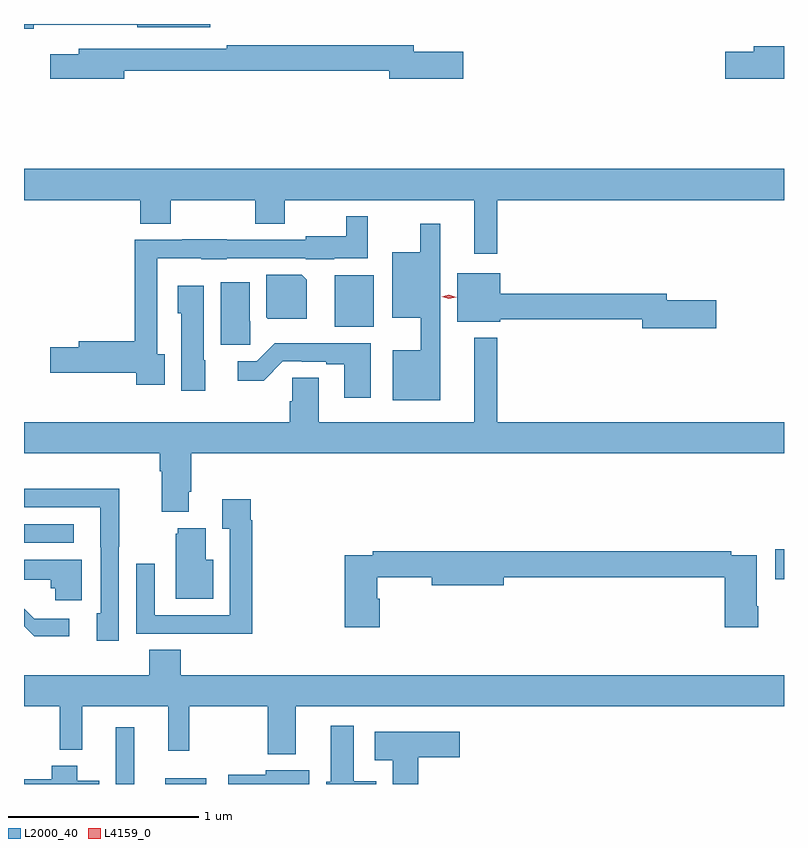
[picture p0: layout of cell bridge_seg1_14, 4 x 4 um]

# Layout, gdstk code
import gdstk
lib = gdstk.Library(unit=1e-6, precision=1e-09)
def R(c, l, rs):  # rectangles x0, y0, x1, y1
    for r in rs: c.add(gdstk.rectangle(r[:2], r[2:], *l))
def P(c, l, *ps):  # polygons
    for p in ps: c.add(gdstk.Polygon(p, *l))
L2000_40 = (2000, 40)
L4159_0 = (4159, 0)

bridge_seg1_14 = lib.new_cell('bridge_seg1_14')
R(bridge_seg1_14, L2000_40, [(837.675,520.687,837.772,520.987), (837.935,520.687,838.15,520.717), (841.146,521.765,841.191,521.923), (837.191,521.958,837.454,522.054), (838.826,523.094,839.032,523.364)])
P(bridge_seg1_14, L2000_40, [(837.242,524.682),(837.786,524.682),(837.786,524.669),(838.171,524.669),(838.171,524.687),(837.191,524.687),(837.191,524.662),(837.242,524.662)],
  [(837.718,524.44),(839.114,524.44),(839.114,524.398),(839.503,524.398),(839.503,524.54),(839.242,524.54),(839.242,524.576),(838.258,524.576),(838.258,524.556),(837.479,524.556),(837.479,524.527),(837.33,524.527),(837.33,524.398),(837.718,524.398)],
  [(841.191,524.57),(841.031,524.57),(841.031,524.54),(840.882,524.54),(840.882,524.398),(841.191,524.398)],
  [(839.683,523.76),(841.191,523.76),(841.191,523.924),(837.191,523.924),(837.191,523.76),(837.803,523.76),(837.803,523.636),(837.963,523.636),(837.963,523.76),(838.408,523.76),(838.408,523.636),(838.563,523.636),(838.563,523.76),(839.561,523.76),(839.561,523.479),(839.683,523.479)],
  [(837.931,522.95),(837.891,522.95),(837.891,523.454),(838.125,523.454),(838.125,523.448),(838.257,523.448),(838.257,523.455),(838.674,523.455),(838.674,523.448),(838.824,523.448),(838.824,523.454),(839,523.454),(839,523.675),(838.887,523.675),(838.887,523.57),(838.674,523.57),(838.674,523.551),(838.257,523.551),(838.257,523.553),(838.025,523.553),(838.025,523.551),(837.775,523.551),(837.775,523.016),(837.479,523.016),(837.479,522.986),(837.33,522.986),(837.33,522.851),(837.782,522.851),(837.782,522.789),(837.931,522.789)],
  [(839.383,523.636),(839.277,523.636),(839.277,523.486),(839.129,523.486),(839.129,523.142),(839.279,523.142),(839.279,522.97),(839.132,522.97),(839.132,522.707),(839.383,522.707)],
  [(840.835,523.232),(840.574,523.232),(840.574,523.268),(839.698,523.268),(839.698,523.375),(839.471,523.375),(839.471,523.121),(839.698,523.121),(839.698,523.132),(840.446,523.132),(840.446,523.085),(840.835,523.085)],
  [(838.678,523.34),(838.652,523.366),(838.466,523.366),(838.466,523.144),(838.474,523.136),(838.678,523.136)],
  [(838.382,523.122),(838.378,523.122),(838.378,523.327),(838.226,523.327),(838.226,522.999),(838.382,522.999)],
  [(838.144,522.918),(838.138,522.918),(838.138,523.309),(838.001,523.309),(838.001,523.164),(838.019,523.164),(838.019,522.756),(838.144,522.756)],
  [(841.191,522.592),(839.683,522.592),(839.683,523.036),(839.561,523.036),(839.561,522.592),(838.741,522.592),(838.741,522.824),(838.602,522.824),(838.602,522.702),(838.589,522.702),(838.589,522.592),(837.191,522.592),(837.191,522.428),(837.905,522.428),(837.905,522.332),(837.917,522.332),(837.917,522.119),(838.057,522.119),(838.057,522.226),(838.07,522.226),(838.07,522.428),(841.191,522.428)],
  [(839.017,523.007),(838.511,523.007),(838.416,522.912),(838.317,522.912),(838.317,522.81),(838.452,522.81),(838.554,522.912),(838.654,522.912),(838.654,522.909),(838.781,522.909),(838.781,522.897),(838.877,522.897),(838.877,522.72),(839.017,522.72)],
  [(837.69,521.935),(837.693,521.935),(837.693,522.242),(837.229,522.242),(837.229,522.24),(837.191,522.24),(837.191,522.144),(837.593,522.144),(837.593,521.932),(837.594,521.932),(837.594,521.586),(837.575,521.586),(837.575,521.442),(837.69,521.442)],
  [(838.391,522.074),(838.384,522.074),(838.384,522.187),(838.235,522.187),(838.235,522.031),(838.275,522.031),(838.275,521.574),(837.879,521.574),(837.879,521.847),(837.783,521.847),(837.783,521.478),(838.099,521.478),(838.099,521.477),(838.391,521.477)],
  [(838.186,521.866),(838.147,521.866),(838.147,522.034),(838.001,522.034),(838.001,522.003),(837.989,522.003),(837.989,521.663),(838.186,521.663)],
  [(839.063,521.661),(839.05,521.661),(839.05,521.776),(839.336,521.776),(839.336,521.734),(839.716,521.734),(839.716,521.776),(840.878,521.776),(840.878,521.511),(841.056,521.511),(841.056,521.623),(841.048,521.623),(841.048,521.892),(840.914,521.892),(840.914,521.912),(839.026,521.912),(839.026,521.892),(838.88,521.892),(838.88,521.511),(839.063,521.511)],
  [(837.496,521.866),(837.191,521.866),(837.191,521.762),(837.331,521.762),(837.331,521.718),(837.356,521.718),(837.356,521.654),(837.496,521.654)],
  [(837.43,521.556),(837.245,521.556),(837.191,521.61),(837.191,521.518),(837.244,521.465),(837.43,521.465)],
  [(838.621,521.096),(841.191,521.096),(841.191,521.26),(838.016,521.26),(838.016,521.393),(837.851,521.393),(837.851,521.26),(837.191,521.26),(837.191,521.096),(837.379,521.096),(837.379,520.868),(837.497,520.868),(837.497,521.096),(837.95,521.096),(837.95,520.863),(838.06,520.863),(838.06,521.096),(838.474,521.096),(838.474,520.844),(838.621,520.844)],
  [(839.044,520.702),(838.927,520.702),(838.927,520.993),(838.805,520.993),(838.805,520.698),(838.781,520.698),(838.781,520.687),(839.044,520.687)],
  [(839.267,520.829),(839.485,520.829),(839.485,520.963),(839.037,520.963),(839.037,520.811),(839.132,520.811),(839.132,520.687),(839.267,520.687)],
  [(837.586,520.705),(837.472,520.705),(837.472,520.783),(837.338,520.783),(837.338,520.713),(837.191,520.713),(837.191,520.687),(837.586,520.687)],
  [(838.693,520.759),(838.464,520.759),(838.464,520.735),(838.266,520.735),(838.266,520.687),(838.693,520.687)])
P(bridge_seg1_14, L4159_0, [(839.427,523.241),(839.389,523.251),(839.389,523.251),(839.389,523.251),(839.427,523.261),(839.465,523.25),(839.465,523.25),(839.465,523.25)])

lib.write_gds('bridge_seg1_14.gds')
